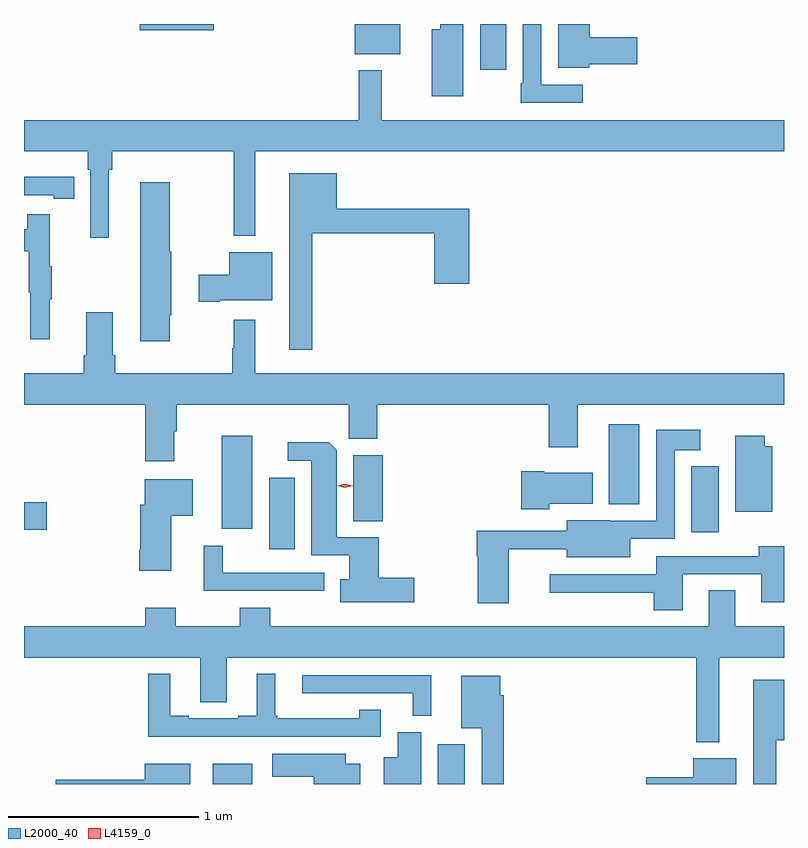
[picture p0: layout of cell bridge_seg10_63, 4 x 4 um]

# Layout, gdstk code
import gdstk
lib = gdstk.Library(unit=1e-6, precision=1e-09)
def R(c, l, rs):  # rectangles x0, y0, x1, y1
    for r in rs: c.add(gdstk.rectangle(r[:2], r[2:], *l))
def P(c, l, *ps):  # polygons
    for p in ps: c.add(gdstk.Polygon(p, *l))
L2000_40 = (2000, 40)
L4159_0 = (4159, 0)

bridge_seg10_63 = lib.new_cell('bridge_seg10_63')
R(bridge_seg10_63, L2000_40, [(813.737,1257.027,813.946,1257.133), (814.922,1257.027,815.065,1257.235), (814.034,1258.263,814.168,1258.639), (816.257,1258.353,816.4,1258.699), (812.744,1258.364,812.863,1258.511), (813.785,1258.371,813.946,1258.861), (814.478,1258.411,814.631,1258.758), (815.822,1258.499,815.983,1258.921), (815.144,1260.786,815.281,1261.027), (814.484,1260.869,814.723,1261.027), (813.354,1260.994,813.742,1261.027)])
P(bridge_seg10_63, L2000_40, [(815.718,1260.814),(815.971,1260.814),(815.971,1260.956),(815.722,1260.956),(815.722,1261.027),(815.555,1261.027),(815.555,1260.797),(815.718,1260.797)],
  [(815.686,1260.708),(815.466,1260.708),(815.466,1261.027),(815.37,1261.027),(815.37,1260.715),(815.358,1260.715),(815.358,1260.612),(815.686,1260.612)],
  [(815.056,1261.027),(814.934,1261.027),(814.934,1261),(814.889,1261),(814.889,1260.648),(815.056,1260.648)],
  [(813.19,1260.26),(813.209,1260.26),(813.209,1260.356),(813.847,1260.356),(813.847,1259.912),(813.961,1259.912),(813.961,1260.356),(816.744,1260.356),(816.744,1260.52),(814.628,1260.52),(814.628,1260.784),(814.507,1260.784),(814.507,1260.52),(812.744,1260.52),(812.744,1260.356),(813.08,1260.356),(813.08,1260.26),(813.093,1260.26),(813.093,1259.901),(813.19,1259.901)],
  [(814.261,1259.926),(814.904,1259.926),(814.904,1259.661),(815.087,1259.661),(815.087,1260.055),(814.39,1260.055),(814.39,1260.241),(814.139,1260.241),(814.139,1259.313),(814.261,1259.313)],
  [(813.008,1260.222),(812.9,1260.222),(812.9,1260.223),(812.744,1260.223),(812.744,1260.126),(812.9,1260.126),(812.9,1260.106),(813.008,1260.106)],
  [(813.51,1259.493),(813.52,1259.493),(813.52,1259.829),(813.51,1259.829),(813.51,1260.193),(813.356,1260.193),(813.356,1259.358),(813.51,1259.358)],
  [(812.879,1259.579),(812.89,1259.579),(812.89,1259.753),(812.879,1259.753),(812.879,1260.025),(812.761,1260.025),(812.761,1259.946),(812.744,1259.946),(812.744,1259.83),(812.769,1259.83),(812.769,1259.616),(812.776,1259.616),(812.776,1259.367),(812.879,1259.367)],
  [(813.775,1259.573),(814.051,1259.573),(814.051,1259.827),(813.824,1259.827),(813.824,1259.708),(813.663,1259.708),(813.663,1259.566),(813.775,1259.566)],
  [(813.535,1258.883),(813.548,1258.883),(813.548,1259.024),(814.453,1259.024),(814.453,1258.843),(814.604,1258.843),(814.604,1259.024),(815.507,1259.024),(815.507,1258.8),(815.659,1258.8),(815.659,1259.024),(816.744,1259.024),(816.744,1259.188),(813.961,1259.188),(813.961,1259.47),(813.847,1259.47),(813.847,1259.321),(813.84,1259.321),(813.84,1259.188),(813.224,1259.188),(813.224,1259.284),(813.211,1259.284),(813.211,1259.509),(813.071,1259.509),(813.071,1259.284),(813.059,1259.284),(813.059,1259.188),(812.744,1259.188),(812.744,1259.024),(813.383,1259.024),(813.383,1258.725),(813.535,1258.725)],
  [(815.296,1258.262),(815.6,1258.262),(815.6,1258.22),(815.935,1258.22),(815.935,1258.317),(816.168,1258.317),(816.168,1258.784),(816.304,1258.784),(816.304,1258.891),(816.072,1258.891),(816.072,1258.413),(815.826,1258.413),(815.826,1258.414),(815.6,1258.414),(815.6,1258.359),(815.126,1258.359),(815.126,1258.226),(815.131,1258.226),(815.131,1257.978),(815.296,1257.978)],
  [(816.682,1258.804),(816.643,1258.804),(816.643,1258.861),(816.488,1258.861),(816.488,1258.46),(816.682,1258.46)],
  [(814.798,1258.113),(814.61,1258.113),(814.61,1258.326),(814.39,1258.326),(814.39,1258.784),(814.349,1258.826),(814.131,1258.826),(814.131,1258.728),(814.256,1258.728),(814.256,1258.23),(814.457,1258.23),(814.457,1258.105),(814.408,1258.105),(814.408,1257.983),(814.798,1257.983)],
  [(815.508,1258.502),(815.737,1258.502),(815.737,1258.666),(815.482,1258.666),(815.482,1258.674),(815.36,1258.674),(815.36,1258.472),(815.508,1258.472)],
  [(813.52,1258.439),(813.631,1258.439),(813.631,1258.63),(813.38,1258.63),(813.38,1258.497),(813.355,1258.497),(813.355,1258.261),(813.35,1258.261),(813.35,1258.149),(813.52,1258.149)],
  [(814.323,1258.14),(813.789,1258.14),(813.789,1258.282),(813.689,1258.282),(813.689,1258.044),(814.323,1258.044)],
  [(816.211,1258.131),(816.623,1258.131),(816.623,1257.984),(816.744,1257.984),(816.744,1258.279),(816.611,1258.279),(816.611,1258.227),(816.071,1258.227),(816.071,1258.131),(815.511,1258.131),(815.511,1258.034),(816.059,1258.034),(816.059,1257.942),(816.211,1257.942)],
  [(816.403,1257.692),(816.744,1257.692),(816.744,1257.856),(816.487,1257.856),(816.487,1258.046),(816.347,1258.046),(816.347,1257.856),(814.04,1257.856),(814.04,1257.955),(813.88,1257.955),(813.88,1257.856),(813.543,1257.856),(813.543,1257.955),(813.383,1257.955),(813.383,1257.856),(812.744,1257.856),(812.744,1257.692),(813.671,1257.692),(813.671,1257.457),(813.811,1257.457),(813.811,1257.692),(816.282,1257.692),(816.282,1257.248),(816.403,1257.248)],
  [(813.972,1257.276),(814.621,1257.276),(814.621,1257.419),(814.508,1257.419),(814.508,1257.373),(814.078,1257.373),(814.078,1257.385),(814.066,1257.385),(814.066,1257.607),(813.968,1257.607),(813.968,1257.385),(813.872,1257.385),(813.872,1257.372),(813.61,1257.372),(813.61,1257.385),(813.514,1257.385),(813.514,1257.607),(813.397,1257.607),(813.397,1257.275),(813.972,1257.275)],
  [(814.888,1257.6),(814.209,1257.6),(814.209,1257.504),(814.79,1257.504),(814.79,1257.385),(814.888,1257.385)],
  [(815.27,1257.494),(815.251,1257.494),(815.251,1257.598),(815.045,1257.598),(815.045,1257.32),(815.154,1257.32),(815.154,1257.027),(815.27,1257.027)],
  [(816.703,1257.257),(816.744,1257.257),(816.744,1257.577),(816.581,1257.577),(816.581,1257.027),(816.703,1257.027)],
  [(814.834,1257.3),(814.712,1257.3),(814.712,1257.169),(814.637,1257.169),(814.637,1257.027),(814.834,1257.027)],
  [(814.513,1257.133),(814.438,1257.133),(814.438,1257.187),(814.05,1257.187),(814.05,1257.065),(814.268,1257.065),(814.268,1257.027),(814.513,1257.027)],
  [(816.493,1257.163),(816.266,1257.163),(816.266,1257.062),(816.018,1257.062),(816.018,1257.027),(816.493,1257.027)],
  [(813.619,1257.133),(813.38,1257.133),(813.38,1257.05),(812.91,1257.05),(812.91,1257.027),(813.619,1257.027)])
P(bridge_seg10_63, L4159_0, [(814.433,1258.587),(814.392,1258.597),(814.392,1258.597),(814.392,1258.597),(814.433,1258.607),(814.474,1258.597),(814.474,1258.597),(814.474,1258.597)])

lib.write_gds('bridge_seg10_63.gds')
